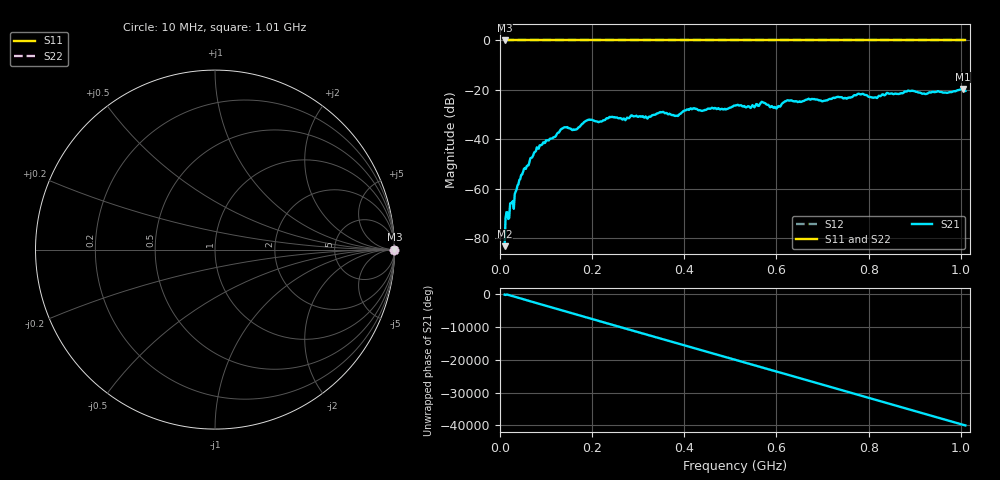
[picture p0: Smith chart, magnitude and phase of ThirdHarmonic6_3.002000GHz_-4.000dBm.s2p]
! 8/17/2025 8:35:08 AM
! C:\ANRITSUVNA\TEMP\TEMP.S2P
! CHANNEL.1
! TR.MEASUREMENT
! RAW.DATA
! RF.CORRECTION.OFF
! AVERAGING.OFF
! IF.BANDWIDTH: 5KHZ
! SWEEPTYPE:  FREQ.SWEEP(Linear)
! Reference Plane Port Info
! PORT:  PORT1  PORT2
! DISTANCE:  0  m  0  m
! TIME:  0  s  0  s
! PHASE.OFFSET:  0  deg.  0  deg.
! LOSS:  0  dB  0  dB
! REF.LOSS:  0  dB  0  dB
! REF.FREQ:  0  Hz  0  Hz
! Power Info
! POWER:  -20  dBm  -20  dBm
! EFF.POWER:  -20  dBm  -20  dBm
! SOURCE.ATTEN:  0  dB  0  dB
! TEST.ATTEN:  0  dB  0  dB
# GHZ S RI R 50.0
! FREQ.GHZ  S11RE  S11IM  S21RE  S21IM  S12RE  S12IM  S22RE  S22IM
!; PortSelection: Port_12
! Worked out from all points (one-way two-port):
!   501 points, 10 MHz to 1.01 GHz, reference 50 ohm
!   highest |S21| = -19.60 dB at 1.004 GHz (marker M1); lowest = -83.2 dB at 10 MHz (marker M2)
!   lowest |S11| = 0.0 dB at 10 MHz (marker M3)
!   |S11| at or under -10 dB: nowhere
!   |S22| runs from 0.0 to 0.0 dB; largest |S21 - S12| = 1.1
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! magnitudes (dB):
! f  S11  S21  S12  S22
! 10 MHz  0.0  -83.2  0.0  0.0
! 16 MHz  0.0  -69.4  0.0  0.0
! 42 MHz  0.0  -56.3  0.0  0.0
! 78 MHz  0.0  -44.7  0.0  0.0
! 136 MHz  0.0  -35.5  0.0  0.0
! 162 MHz  0.0  -36.1  0.0  0.0
! 178 MHz  0.0  -33.8  0.0  0.0
! 194 MHz  0.0  -31.9  0.0  0.0
! 322 MHz  0.0  -31.1  0.0  0.0
! 344 MHz  0.0  -29.3  0.0  0.0
! 384 MHz  0.0  -30.4  0.0  0.0
! 416 MHz  0.0  -27.8  0.0  0.0
! 510 MHz  0.0  -26.3  0.0  0.0
! 570 MHz  0.0  -24.9  0.0  0.0
! 598 MHz  0.0  -27.0  0.0  0.0
! 622 MHz  0.0  -24.3  0.0  0.0
! 678 MHz  0.0  -23.7  0.0  0.0
! 782 MHz  0.0  -21.8  0.0  0.0
! 814 MHz  0.0  -23.0  0.0  0.0
! 844 MHz  0.0  -21.5  0.0  0.0
! 1.004 GHz  0.0  -19.6  0.0  0.0
! 1.01 GHz  0.0  -20.4  0.0  0.0
